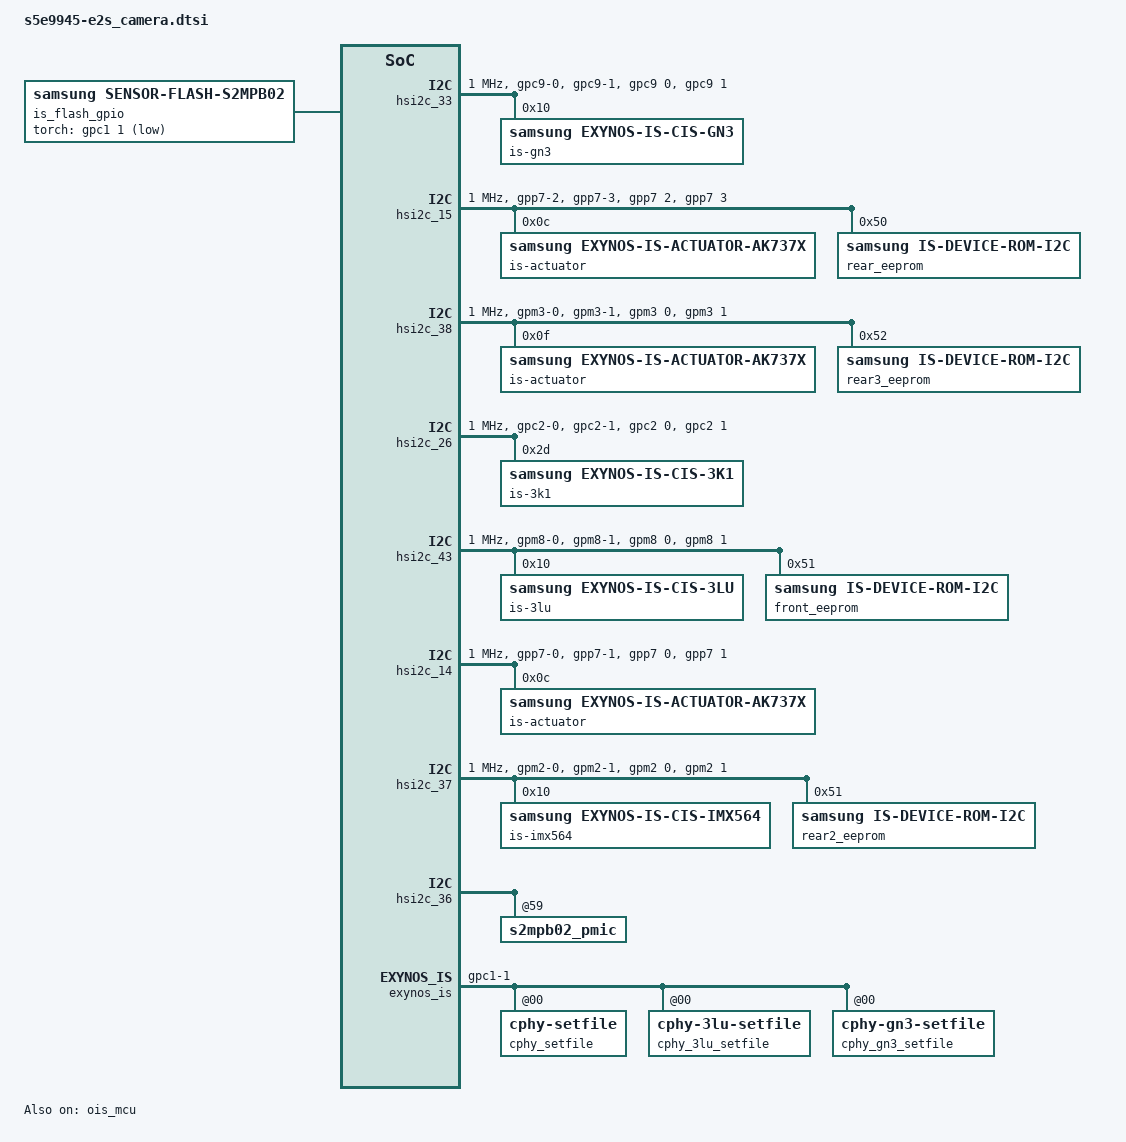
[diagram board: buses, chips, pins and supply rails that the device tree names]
/*
 * Samsung Exynos SoC series Pablo driver
 *
 * Copyright (c) 2022 Samsung Electronics Co., Ltd
 *
 * This program is free software; you can redistribute it and/or modify
 * it under the terms of the GNU General Public License version 2 as
 * published by the Free Software Foundation.
 */

#include <dt-bindings/camera/exynos_is_dt.h>

#include "module_gn3.dtsi"
#include "module_3k1.dtsi"
#include "module_imx564_ff.dtsi"
#include "module_3lu.dtsi"

/ {
	fragment@camera {
		target-path = "/";
		__overlay__ {
			#address-cells = <2>;
			#size-cells = <1>;
			interrupt-parent = <&gic>;

			is_flash_gpio: is-flash-gpio@0 {
				compatible = "samsung,sensor-flash-s2mpb02";
				sensor-module = <&is_sensor_gn3>, <&is_sensor_3k1>;
				id = <0 2>;
				status = "okay";

				torch-gpio = <&gpc1 1 0x1>;
			};

			is_sensor_gn3: is_sensor_gn3@20 {
				preload_setfile;
				pinning_setfile;
			};

			is_sensor_3k1: is_sensor_3k1@10 {
				preload_setfile;
				pinning_setfile;
			};

			is_sensor_imx564: is_sensor_imx564@1A {
				preload_setfile;
				pinning_setfile;
			};

			is_sensor_3lu: is_sensor_3lu@10 {
				preload_setfile;
				pinning_setfile;
			};

			/* OIS_MCU */
			ois_mcu: ois_mcu@1A310000 {
				pinctrl-names = "default";
				pinctrl-0 = <&ois_spi0 &ois_spi1>;
				compatible = "samsung,sensor-ois-mcu";
				reg = <0x0 0x1A310000 0x18000>, /* OIS MCU (SRAM 96KB) */
					<0x0 0x119D0000 0x10000>, /* I2C: USI05_USI */
					<0x0 0x119E0000 0x10000>,	/* SPI: USI06_USI */
					<0x0 0x11830000 0x1000>,	/* PERI setting */
					<0x0 0x1A300000 0x10000>; /* SFR */
				reg-names = "core", "i2c", "spi", "peri", "sfr";
				interrupts = <0 INTREQ__OIS_MCU_CSIS IRQ_TYPE_LEVEL_HIGH>;
				id = <0 2>;
				status = "okay";
				mcu_ctrl_actuator = <0 0>;
				mcu_support_photo_fastae;
				ois_gyro_direction = <0x00 0x00 0x11 0x00 0x00 0x00 0x00>;

				power-domains = <&pd_csis>;
				clocks = <&clock GATE_OIS_MCU_TOP_QCH>, <&clock DOUT_DIV_CLK_PERIC2_USI06>;
				clock-names = "user_mux", "ipclk_spi";
			};

			/* REAR CAMERA */
			is_sensor0: is_sensor0@1A030000 {
				reg = <0x0 0x1A040000 0x1000>, /* MIPI-CSI1 */
					<0x0 0x1A0F0000 0x10000>, /* PHY: M0S4S4S4S4S4S2 */
					<0x0 0x1A19022C 0x10>, /* CSIS_FRO */
					<0x0 0x1A190254 0x10>; /* CSIS 7x5 OTF_OUT MUX */
				scenario = <SENSOR_SCENARIO_NORMAL>;    /* Normal, Vision, OIS etc */

				id = <0>;
				csi_ch = <1>;
				status = "okay";
				use_cphy = <1>;
				scramble = <1>; /* need to sync with sensor setting */

				interrupts = <0 INTREQ__CSIS1 IRQ_TYPE_LEVEL_HIGH>; /* MIPI-CSI1 */
				phys = <&mipi_phy_csis1_m0s4s4s4s4s4s4_s22 0>;
				phy_setfile = <&cphy_gn3_setfile>;

				/* For phy tuning, DMA OUT must be output from only one VC(VC0) */
				phy_tune_default_mode = "4080 3060 30 99";
			};

			/* FRONT CAMERA */
			is_sensor1: is_sensor1@1A040000 {
				reg = <0x0 0x1A030000 0x1000>, /* MIPI-CSI0 */
					<0x0 0x1A0F0000 0x10000>, /* PHY: M0S4S4S4S4S4S2 */
					<0x0 0x1A19022C 0x10>, /* CSIS_FRO */
					<0x0 0x1A190254 0x10>; /* CSIS 7x5 OTF_OUT MUX */
				scenario = <SENSOR_SCENARIO_NORMAL>;    /* Normal, Vision, OIS etc */
				id = <1>;
				csi_ch = <0>;
				status = "okay";
				use_cphy = <1>;
				/* scramble = <1>; */ /* need to sync with sensor setting */

				interrupts = <0 INTREQ__CSIS0 IRQ_TYPE_LEVEL_HIGH>; /* MIPI-CSI0 */
				phys = <&mipi_phy_csis0_m0s4s4s4s4s4s4_s22 0>;
				phy_setfile = <&cphy_3lu_setfile>;

				/* For phy tuning, DMA OUT must be output from only one VC(VC0) */
				phy_tune_default_mode = "4000 3000 30 99";
			};

			/* Tele x3 CAMERA */
			is_sensor2: is_sensor2@1A050000 {
				reg = <0x0 0x1A050000 0x1000>, /* MIPI-CSI2 */
					<0x0 0x1A0F0000 0x10000>, /* PHY: M0S4S4S4S4S4S2 */
					<0x0 0x1A19022C 0x10>, /* CSIS_FRO */
					<0x0 0x1A190254 0x10>; /* CSIS 7x5 OTF_OUT MUX */
				scenario = <SENSOR_SCENARIO_NORMAL>;    /* Normal, Vision, OIS etc */
				id = <2>;
				csi_ch = <2>;
				status = "okay";
				use_cphy = <0>; /* dphy */

				interrupts = <0 INTREQ__CSIS2 IRQ_TYPE_LEVEL_HIGH>; /* MIPI-CSI2 */
				phys = <&mipi_phy_csis2_m0s4s4s4s4s4s4_s22 0>;

				/* For phy tuning, DMA OUT must be output from only one VC(VC0) */
				phy_tune_default_mode = "3648 2736 30 99";
			};

			is_sensor3: is_sensor3@1A060000 {
				scenario = <SENSOR_SCENARIO_NORMAL>;    /* Normal, Vision, OIS etc */
				id = <3>;
				csi_ch = <4>;
				status = "okay";
			};

			/* ULTRA WIDE CAMERA */
			is_sensor4: is_sensor4@1A070000 {
				reg = <0x0 0x1A060000 0x1000>, /* MIPI-CSI3 */
					<0x0 0x1A0F0000 0x10000>, /* PHY: M0S4S4S4S4S4S2 */
					<0x0 0x1A19022C 0x10>, /* CSIS_FRO */
					<0x0 0x1A190254 0x10>; /* CSIS 7x5 OTF_OUT MUX */
				scenario = <SENSOR_SCENARIO_NORMAL>;    /* Normal, Vision, OIS etc */
				id = <4>;
				csi_ch = <3>;
				status = "okay";
				use_cphy = <1>;

				interrupts = <0 INTREQ__CSIS3 IRQ_TYPE_LEVEL_HIGH>; /* MIPI-CSI3 */
				phys = <&mipi_phy_csis3_m0s4s4s4s4s4s4_s22 0>;
				phy_setfile = <&cphy_setfile>;
				phy_tune_default_mode = "4000 3000 30 0";
			};

			is_sensor5: is_sensor5@1A080000 {
				scenario = <SENSOR_SCENARIO_NORMAL>;    /* Normal, Vision, OIS etc */
				id = <1>;
				csi_ch = <1>;
				status = "disabled";
			};

			exynos_isp_cpu: icpu@1E900000 {
				firmware{
					heap{
						heap-name = "camera"; /* use camera heap */
					};
				};
			};
		}; /* end of __overlay__ */
	}; /* end of fragment */
}; /* end of root */

/***** reference symbol node *****/
&pinctrl_1 {
	/* ULTRA WIDE */
	hsi2c37_bus_in: hsi2c37-bus-in {
		samsung,pins = "gpm2-0", "gpm2-1";
		samsung,pin-function = <0>;
		samsung,pin-pud = <0>;
		samsung,pin-drv = <0>;
	};

	/* Tele 3x AF */
	hsi2c38_bus_in: hsi2c38-bus-in {
		samsung,pins = "gpm3-0", "gpm3-1";
		samsung,pin-function = <0>;
		samsung,pin-pud = <0>;
		samsung,pin-drv = <0>;
	};

	/* FRONT */
	hsi2c43_bus_in: hsi2c43-bus-in {
		samsung,pins = "gpm8-0", "gpm8-1";
		samsung,pin-function = <0>;
		samsung,pin-pud = <0>;
		samsung,pin-drv = <0>;
	};
};

&pinctrl_5 {
	/* torch */
	torch_sleep: torch-sleep {
		samsung,pins = "gpc1-1";
		samsung,pin-con-pdn= <3>;
	};
};

&pinctrl_6 {
	/* REAR TELE 3x */
	hsi2c26_bus_in: hsi2c26-bus-in {
		samsung,pins = "gpc2-0", "gpc2-1";
		samsung,pin-function = <0>;
		samsung,pin-pud = <0>;
		samsung,pin-drv = <0>;
	};

	/* FRONT AF */
	hsi2c14_bus_in: hsi2c14-bus-in {
		samsung,pins = "gpp7-0", "gpp7-1";
		samsung,pin-function = <0>;
		samsung,pin-pud = <0>;
		samsung,pin-drv = <0>;
	};

	/* REAR WIDE AF */
	hsi2c15_bus_in: hsi2c15-bus-in {
		samsung,pins = "gpp7-2", "gpp7-3";
		samsung,pin-function = <0>;
		samsung,pin-pud = <0>;
		samsung,pin-drv = <0>;
		samsung,pin-pud-pdn = <0>;
	};
};

&pinctrl_7 {
	/* REAR WIDE */
	hsi2c33_bus_in: hsi2c33-bus-in {
		samsung,pins = "gpc9-0", "gpc9-1";
		samsung,pin-function = <0>;
		samsung,pin-pud = <0>;
		samsung,pin-drv = <0>;
		samsung,pin-pud-pdn = <0>;
	};

	/* ois spi 0*/
	ois_spi0: ois-spi0 {
		samsung,pins = "gpp6-0", "gpp6-1";
		samsung,pin-function = <0>;
		samsung,pin-pud = <1>;
	};

	/* ois spi 1*/
	ois_spi1: ois-spi1 {
		samsung,pins = "gpp6-2", "gpp6-3";
		samsung,pin-function = <0>;
		samsung,pin-pud = <0>;
		samsung,pin-con-pdn = <2>;
		samsung,pin-pud-pdn = <0>;
	};
};

&hsi2c_33 {
	#address-cells = <1>;
	#size-cells = <0>;
	gpios = <&gpc9 0 0 &gpc9 1 0>;
	status = "okay";
	clock-frequency = <1000000>;
	samsung,reset-before-trans;
	samsung,fast-plus-mode;

	pinctrl-names = "default","on_i2c","off_i2c";
	pinctrl-0 = <&hsi2c33_bus_in>;
	pinctrl-1 = <&hsi2c33_bus>;
	pinctrl-2 = <&hsi2c33_bus_in>;

	is-gn3@10 {
		compatible = "samsung,exynos-is-cis-gn3";
		sensor-module = <&is_sensor_gn3>;
		reg = <0x10>; /* 1 bit right shift */
		id = <0>; /* matching is_sensor id */
		setfile = "default";
		rev_reg = <0x0002 2 0xC000>;
		vendor_use_adaptive_mipi;
	};
};

&hsi2c_15 {
	#address-cells = <1>;
	#size-cells = <0>;
	gpios = <&gpp7 2 0 &gpp7 3 0>;
	status = "okay";
	clock-frequency = <1000000>;
	samsung,reset-before-trans;
	samsung,fast-plus-mode;

	pinctrl-names = "default","on_i2c","off_i2c";
	pinctrl-0 = <&hsi2c15_bus_in>;
	pinctrl-1 = <&hsi2c15_bus>;
	pinctrl-2 = <&hsi2c15_bus_in>;

	is-actuator@0C { /* wide AF */
		compatible = "samsung,exynos-is-actuator-ak737x";
		sensor-module = <&is_sensor_gn3>;
		reg = <0x0C>;
		id = <0>; /* matching is_sensor id */
		/* AK7377: addr 0xF3, data 0x0E */
		vendor_product_id = <0xF3 0x0E 0xF3 0x13 0xF3 0x00>;
		vendor_first_pos = <2000>;  /* 12bits */
		vendor_first_delay = <2000>;
		vendor_soft_landing_seqid = <2>;
		vendor_soft_landing_list = <2900 30 3500 30>; /* 1st_pos delay 2nd_pos delay */  /* 12bits */
		vendor_use_sleep_mode;
		vendor_use_standby_mode; /* AK7377 with vendor_use_sleep_mode */
		vendor_use_hall;
		vendor_hall_min_interval = <75>; /* ms */
		vendor_hall_hw_param_tolerance = <200>;
	};

	rear_eeprom@50 {
		compatible = "samsung,is-device-rom-i2c";
		reg = <0x50>;

		rom_id = <0>; /* ROM_ID_REAR */
		rom_type = <2>; /* ROM_TYPE_EEPROM */
		rom_power_position = <0>;
		rom_size = <0x8000>;
		cal_map_es_version = <31>;
		camera_module_es_version = "A";
		/* ignore_cal_crc_error; */
		/* skip_cal_loading; */

		/* Muse_project_Muse12_Rear_Cal_Map_V031_20230525_for_all */
		/* 0 header */
		header_crc_check_list = <0x0000 0x01FB 0x01FC>;
		/* 0 LSI Wide LSC data */
		/* 1 Wide camera */
		/* 2 ATC data */
		/* 3 Tele camera */
		/* 4 Sensor */
		crc_check_list = <0x0200 0x15FB 0x15FC
						0x1D00 0x2D2B 0x2D2C
						0x2D30 0x2D5B 0x2D5C
						0x2D60 0x2D9B 0x2D9C
						0x2DA0 0x2E0B 0x2E0C
						0x2E10 0x2E6B 0x2E6C
						0x2E70 0x2E9B 0x2E9C
						0x1D00 0x2EDF 0x2EFC
						0x2F00 0x2FFB 0x2FFC
						0x3000 0x4499 0x449A
						0x3000 0x44DF 0x44FC
						0x4500 0x464B 0x464C>;

		/* Master */
		rom_header_version_start_addr = <0x50>;
		rom_header_cal_data_start_addr = <0x200>;
		rom_header_cal_map_ver_start_addr = <0x70>;
		rom_header_isp_setfile_ver_start_addr = <0x74>;
		rom_header_project_name_start_addr = <0x7E>;
		rom_header_module_id_addr = <0xAE>; /* 0xA8 + reserved bytes */
		rom_header_sensor_id_addr = <0xB8>;
		rom_header_mtf_data_addr = <0xE0>;
		rom_paf_cal_start_addr = <0x1D00>;
		rom_awb_master_addr = <0x2D60>;
		rom_awb_module_addr = <0x2D84>;
		/* Near Far Mid1 ... Mid7 */
		rom_af_cal_addr = <0x2D40 0x2D34 0x2D38 0x2D3C>;

		/* rom_xtc_cal_endian_check; */
		rom_xtc_cal_data_addr_list = <0x3000 0x4499 0x1>;

		/* sensor ois - xgg ygg xcoef ycoef xsupper ysupper calmark */
		/* sensor2 ois - xgg ygg xcoef ycoef xsupper ysupper calmark */
		/* TO DO */
		rom_ois_list = <0x2E20 0x2E24 0x2E2C 0x2E2E 0x2E48 0x2E4A 0x2E40
				0x3630 0x3634 0x363C 0x363E 0x3658 0x365A 0x3650>;
	};
};

&hsi2c_38 {
	#address-cells = <1>;
	#size-cells = <0>;
	gpios = <&gpm3 0 0 &gpm3 1 0>;
	status = "okay";
	clock-frequency = <1000000>;
	samsung,reset-before-trans;
	samsung,fast-plus-mode;

	pinctrl-names = "default","on_i2c","off_i2c";
	pinctrl-0 = <&hsi2c38_bus_in>;
	pinctrl-1 = <&hsi2c38_bus>;
	pinctrl-2 = <&hsi2c38_bus_in>;

	is-actuator@0F { /* tele 3x AF */
		compatible = "samsung,exynos-is-actuator-ak737x";
		sensor-module = <&is_sensor_3k1>;
		reg = <0x0F>;
		id = <2>; /* matching is_sensor id */
		/* AK7377: addr 0xF3, data 0x0E */
		vendor_product_id = <0xF3 0x0E 0xF3 0x13 0xF3 0x00>;
		vendor_first_pos = <2000>;  /* 12bits */
		vendor_first_delay = <2000>;
		vendor_soft_landing_seqid = <2>;
		vendor_soft_landing_list = <2900 30 3500 30>; /* 1st_pos delay 2nd_pos delay */  /* 12bits */
		vendor_use_sleep_mode;
		vendor_use_standby_mode; /* AK7377 with vendor_use_sleep_mode */
		vendor_use_hall;
		vendor_hall_min_interval = <75>; /* ms */
		vendor_hall_hw_param_tolerance = <200>;
	};

	rear3_eeprom@52 { /* tele x3 */
		compatible = "samsung,is-device-rom-i2c";
		reg = <0x52>;

		rom_id = <4>; /* ROM_ID_REAR3 */
		rom_type = <2>; /* ROM_TYPE_EEPROM */
		rom_power_position = <2>;
		rom_size = <0x4000>;
		cal_map_es_version = <31>;
		camera_module_es_version = "A";

		/* Muse_project_Muse12_Rear_Cal_Map_V031_20230525_for_all */
		/* 0 header */
		header_crc_check_list = <0x0000 0x01FB 0x01FC>;
		/* 0 LSI Wide LSC data */
		/* 1 Tele camera */
		/* 2 ATC data */
		crc_check_list = <
			0x0200 0x15FB 0x15FC
			0x1600 0x1CFB 0x1CFC
			0x1D00 0x2D2B 0x2D2C
			0x2D30 0x2D5B 0x2D5C
			0x2D60 0x2D9B 0x2D9C
			0x2DA0 0x2E0B 0x2E0C
			0x2E10 0x361B 0x361C
			0x3620 0x367B 0x367C
			0x1D00 0x36DF 0x36FC
			0x3700 0x37FB 0x37FC
			0x3800 0x394B 0x394C
		>;

		/* Master */
		rom_header_version_start_addr = <0x40>;
		rom_header_cal_data_start_addr = <0x200>;
		rom_header_cal_map_ver_start_addr = <0x70>;
		rom_header_isp_setfile_ver_start_addr = <0x74>;
		rom_header_project_name_start_addr = <0x7E>;
		rom_header_module_id_addr = <0xAE>; /* 0xA8 + reserved bytes */
		rom_header_sensor_id_addr = <0xC8>;
		rom_header_mtf_data_addr = <0x182>;
		rom_awb_master_addr = <0x2D60>;
		rom_awb_module_addr = <0x2D84>;
		/* Near Far Mid1 ... Mid7 */
		rom_af_cal_addr = <0x2D40 0x2D34 0x2D38 0x2D3C>;

		/* Dual cal slave 0 - Tele */
		rom_dualcal_slave0_start_addr = <0x2E10>;
		rom_dualcal_slave0_size = <0x080C>; /* 2060 */
		/* x y z sx sy */
		/* range max_err avg_err dll_version model_id */
		rom_dualcal_slave1_tilt_list = <0x2EC8 0x2ECC 0x2ED0 0x2EEC 0x2EF0
			0x30E2 0x30E6 0x30EA 0x3104 0x30EF>;

		/* sensor ois - xgg ygg xcoef ycoef xsupper ysupper calmark */
		/* sensor2 ois - xgg ygg xcoef ycoef xsupper ysupper calmark */
		/* TO DO */
		rom_ois_list = <0x2E20 0x2E24 0x2E2C 0x2E2E 0x2E48 0x2E4A 0x2E40
			0x3630 0x3634 0x363C 0x363E 0x3658 0x365A 0x3650>;
	};
};

&hsi2c_26 {
	#address-cells = <1>;
	#size-cells = <0>;
	gpios = <&gpc2 0 0 &gpc2 1 0>;
	status = "okay";
	clock-frequency = <1000000>;
	samsung,reset-before-trans;
	samsung,fast-plus-mode;

	pinctrl-names = "default","on_i2c","off_i2c";
	pinctrl-0 = <&hsi2c26_bus_in>;
	pinctrl-1 = <&hsi2c26_bus>;
	pinctrl-2 = <&hsi2c26_bus_in>;

	is-3k1@2D { /* 3k1 */
		compatible = "samsung,exynos-is-cis-3k1";
		sensor-module = <&is_sensor_3k1>;
		reg = <0x2D>; /* 1 bit right shift */
		id = <2>; /* matching is_sensor id */
		setfile = "setA";
		rev_reg = <0x0002 2 0xA000>;
		vendor_use_adaptive_mipi;
	};
};

&hsi2c_43 {
	#address-cells = <1>;
	#size-cells = <0>;
	gpios = <&gpm8 0 0 &gpm8 1 0>;
	status = "okay";
	clock-frequency = <1000000>;
	samsung,reset-before-trans;
	samsung,fast-plus-mode;

	pinctrl-names = "default","on_i2c","off_i2c";
	pinctrl-0 = <&hsi2c43_bus_in>;
	pinctrl-1 = <&hsi2c43_bus>;
	pinctrl-2 = <&hsi2c43_bus_in>;

	is-3lu@10 {
		compatible = "samsung,exynos-is-cis-3lu";
		sensor-module = <&is_sensor_3lu>;
		reg = <0x10>; /* 1 bit right shift */
		id = <1>; /* matching is_sensor id */
		setfile = "default";
		rev_reg = <0x0002 2 0xA101>;
		vendor_use_adaptive_mipi;
	};

	front_eeprom@51 {
		compatible = "samsung,is-device-rom-i2c";
		reg = <0x51>;

		rom_id = <1>; /* ROM_ID_FRONT */
		rom_type = <2>; /* ROM_TYPE_EEPROM */
		rom_power_position = <1>;
		rom_size = <0x4000>;
		cal_map_es_version = <31>;
		camera_module_es_version = "A";
		/* ignore_cal_crc_error; */

		/* Muse_project_Muse123_Front_Cal_Map_V031_20230510_for_all */
		/* 0 header */
		header_crc_check_list = <0x0000 0x015F 0x01FC>;
		/* 0 master */
		crc_check_list = <
			0x0200 0x15FB 0x15FC
			0x2300 0x32FF 0x3300
			0x330C 0x3337 0x3338
			0x333C 0x3367 0x3368
			0x2300 0x33DF 0x33FC
			0x3400 0x354B 0x354C
		>;
		/* Master */
		rom_header_version_start_addr = <0x30>;
		rom_header_cal_data_start_addr = <0x200>;
		rom_header_cal_map_ver_start_addr = <0x50>;
		/* rom_header_isp_setfile_ver_start_addr = <>; */
		rom_header_project_name_start_addr = <0x5C>;
		rom_header_module_id_addr = <0xAE>; /* 0xA8 + reserved bytes */
		rom_header_sensor_id_addr = <0x70>;
		rom_header_mtf_data_addr = <0xE0>;
		rom_paf_cal_start_addr = <0x2300>;
		rom_awb_master_addr = <0x333C>;
		rom_awb_module_addr = <0x3348>;
		/* Near Far Mid1 ... Mid7 */
		rom_af_cal_addr = <0x331C 0x3310>;
	};
};

&hsi2c_14 {
	#address-cells = <1>;
	#size-cells = <0>;
	gpios = <&gpp7 0 0 &gpp7 1 0>;
	status = "okay";
	clock-frequency = <1000000>;
	samsung,reset-before-trans;
	samsung,fast-plus-mode;

	pinctrl-names = "default","on_i2c","off_i2c";
	pinctrl-0 = <&hsi2c14_bus_in>;
	pinctrl-1 = <&hsi2c14_bus>;
	pinctrl-2 = <&hsi2c14_bus_in>;

	is-actuator@0C { /* front AF */
		compatible = "samsung,exynos-is-actuator-ak737x";
		sensor-module = <&is_sensor_3lu>;
		reg = <0x0C>;
		id = <1>; /* matching is_sensor id */
		/* DW9825A */
		vendor_product_id = <0xF3 0x0E>;
		vendor_first_pos = <960>;  /* 12bits */
		vendor_first_delay = <2000>;
		vendor_use_sleep_mode;
		vendor_use_standby_mode; /* with vendor_use_sleep_mode */
		vendor_use_hall;
		vendor_hall_min_interval = <75>; /* ms */
		vendor_hall_hw_param_tolerance = <200>;
		/* delay settings for DW9825A */
		vendor_sleep_to_standby_delay = <3000>;
		vendor_active_to_standby_delay = <300>;
	};
};

&hsi2c_37 {
	#address-cells = <1>;
	#size-cells = <0>;
	gpios = <&gpm2 0 0 &gpm2 1 0>;
	status = "okay";
	clock-frequency = <1000000>;
	samsung,reset-before-trans;
	samsung,fast-plus-mode;

	pinctrl-names = "default","on_i2c","off_i2c";
	pinctrl-0 = <&hsi2c37_bus_in>;
	pinctrl-1 = <&hsi2c37_bus>;
	pinctrl-2 = <&hsi2c37_bus_in>;

	is-imx564@10 { /* ultrawide */
		compatible = "samsung,exynos-is-cis-imx564";
		sensor-module = <&is_sensor_imx564>;
		reg = <0x10>; /* 1 bit right shift */
		id = <4>; /* matching is_sensor id */
		setfile = "setB";
		status = "okay";
		rev_reg = <0x36F2 2 0x564C>;
		vendor_use_adaptive_mipi;
	};

	rear2_eeprom@51 { /* Ultra wide eeprom */
		compatible = "samsung,is-device-rom-i2c";
		reg = <0x51>;

		rom_id = <2>; /* ROM_ID_REAR2 */
		rom_type = <2>; /* ROM_TYPE_EEPROM */
		rom_power_position = <4>;
		rom_size = <0x2000>;
		cal_map_es_version = <31>;
		camera_module_es_version = "A";

		/* Muse_project_Muse12_Rear_Cal_Map_V031_20230525_for_all */
		/* 0 header */
		header_crc_check_list = <0x0000 0x00FB 0x00FC>;
		/* 0 master LSC */
		/* 1 master all */
		crc_check_list = <
			0x0100 0x14FB 0x14FC
			0x1500 0x1BFB 0x1BFC
			0x1C00 0x1C3B 0x1C3C
			0x1C40 0x1CAB 0x1CAC
			0x1C00 0x1CDF 0x1CFC
			0x1D00 0x1E4B 0x1E4C
		>;
		/* Master */
		rom_header_version_start_addr = <0x40>;
		rom_header_cal_data_start_addr = <0x100>;
		rom_header_cal_map_ver_start_addr = <0x50>;
		rom_header_isp_setfile_ver_start_addr = <0x54>;
		rom_header_project_name_start_addr = <0x5E>;
		rom_header_module_id_addr = <0xAE>; /* 0xA8 + reserved bytes */
		rom_header_sensor_id_addr = <0xB8>;
		rom_header_mtf_data_addr = <0x66>; /* AF position */
		rom_awb_master_addr = <0x1C00>;
		rom_awb_module_addr = <0x1C24>;
	};
};

&hsi2c_36 {
	s2mpb02_pmic@59 {
		torch {
			torch1-gpio = <&gpc1 1 0x1>;

			status = "okay";

			leds1 {
				ledname = "leds-sec1";
				id = <0>;
				brightness = <0xE>; /* adaptive Nx100+50 : 1450mA */
				timeout = <0x7>; /* (N+1)x62.5 : 500ms */
				torch_table_enable = <0>;
			};

			leds2 {
				ledname = "torch-sec1";
				id = <1>;
				brightness = <0xE>; /* Nx20 = 280mA */
				timeout = <0xF>;
				torch_table_enable = <1>;
				torch_table = <3 5 5 6 6 8 8 8 10 10>;
				/* 60mA 100mA 120mA 160mA 200mA */
			};
		};
	};
};

&exynos_is {
	phy_ldos = "AVDD_CSI_0P85", "AVDD_CSI_1P2";

	pinctrl-names = "default";
	pinctrl-0 = <&torch_sleep>;

	vendor {
		use_module_check;
		check_sensor_vendor;
		ois_sensor_index = <0>;
		aperture_sensor_index = <0>;
		mcu_sensor_index = <0>;

		is_vendor_sensor_count = <5>;
		max_supported_camera = <6>;
		supported_cameraId = <56 58 52 1 21 23>;
		/*
		* Wide(0)
		* Front(1)
		* U Wide(2)
		* Front 80(3) - not available for factory
		* Rear ToF(4) - not available for factory
		* Front Secure(5) - not available for factory
		* Dual Zoom(20)
		* Dual Portrait Tele(21) - Main Tele/Sub Wide
		* Dual Portrait Wide(23) - Main Wide/Sub U Wide
		* Tele 2x2(50)
		* Tele 17.9(52)
		* Front_3(53)
		* Tele_2(54)
		* Front_4(55)
		* Rear_Wide(56)
		* Rear_UW(58)
		* REAR ToF(80)
		*/

		/* sysfs camera id */
		max_camera_num = <9>;
		sensor_name { /* position = "name" */
			0 = "S5KGN3";
			1 = "S5K3LU";
			2 = "S5K3K1";
			4 = "IMX564";
		};

		sensor_id { /* position = <sensor_id> */
			0 = <71>;	/* S5KGN3 */
			1 = <75>;	/* S5K3LU */
			2 = <70>;	/* S5K3K1 */
			4 = <129>;	/* IMX564 */
		};

		camera_info0 {			/* 0 : sysfs rear */
			position = <0>;	/* 0 : wide */
			valid = <1>;		/* 0 : INVALID, 1 : VALID */
			type = <0>;			/* 0 : CAM_INFO_TYPE_RW1 */
		};
		camera_info1 {			/* 1 : sysfs front */
			position = <1>;	/* 1 : front master */
			valid = <1>;		/* 0 : INVALID, 1 : VALID */
			type = <3>;			/* 3 : CAM_INFO_TYPE_FW1 */
		};
		camera_info2 {			/* 2 : sysfs rear2 */
			position = <4>;	/* 4 : ultra wide */
			valid = <1>;		/* 0 : INVALID, 1 : VALID */
			type = <1>;			/* 1 : CAN_INFO_TYPE_RS1 */
		};
		camera_info3 {			/* 3 : sysfs front2 */
			valid = <0>;		/* 0 : INVALID, 1 : VALID */
		};
		camera_info4 {			/* 4 : sysfs rear3 */
			position = <2>;	/* 4 : tele */
			valid = <1>;		/* 0 : INVALID, 1 : VALID   */
			type = <2>;			/* 2 : CAM_INFO_TYPE_RT1 */
		};
		camera_info5 {			/* 5 : sysfs front3 */
			valid = <0>;		/* 0 : INVALID, 1 : VALID */
		};
		camera_info6 {			/* 6 : sysfs rear4 */
			valid = <0>;		/* 0 : INVALID, 1 : VALID   */
		};
		camera_info7 {			/* 7 : sysfs front4 */
			valid = <0>;		/* 0 : INVALID, 1 : VALID */
		};
		camera_info8 {			/* 8 : sysfs rear tof */
			valid = <0>;		/* 0 : INVALID, 1 : VALID */
		};

		sysfs {
			rear_afcal;
			rear_dualcal;

			rear2;
			rear2_afcal;
			rear2_moduleid;
			rear2_tilt;

			rear3;
			rear3_afcal;
			rear3_afhall;
			rear3_moduleid;
			rear3_tilt;

			front_afcal;
		};
	};

	lic_offsets {
		/* 3AA = <setA lic offset0, setA lic offset1, set A trigger context */
		/*		setB lic offset0, setB lic offset1, set B trigger context> */
		/* 4672: 4640x4352 */
		/* 5824: 5804x4352 */
		3AA = <5461 10922 16383 0 5461 10922 16383 0>;
	};

	is_dvfs {
		table0 {
			desc = "dvfs table v0.0";

			default_int_cam = <0>;
			default_cam = <0>;
			default_csis = <0>;
			default_isp = <0>;
			default_mif = <0>;
			default_int = <0>;
			default_icpu = <0>;

			rear_single_photo_cam = <5>;
			rear_single_photo_isp = <6>;
			rear_single_photo_int_cam = <4>;
			rear_single_photo_mif = <9>;
			rear_single_photo_int = <1>;
			rear_single_photo_icpu = <0>;

			rear_single_photo_full_cam = <5>;
			rear_single_photo_full_isp = <6>;
			rear_single_photo_full_int_cam = <5>;
			rear_single_photo_full_mif = <11>;
			rear_single_photo_full_int = <1>;
			rear_single_photo_full_icpu = <0>;

			rear_single_video_fhd30_cam = <5>;
			rear_single_video_fhd30_isp = <6>;
			rear_single_video_fhd30_int_cam = <6>;
			rear_single_video_fhd30_mif = <11>;
			rear_single_video_fhd30_int = <2>;
			rear_single_video_fhd30_icpu = <1>;

			rear_single_video_fhd30_supersteady_cam = <5>;
			rear_single_video_fhd30_supersteady_isp = <6>;
			rear_single_video_fhd30_supersteady_int_cam = <6>;
			rear_single_video_fhd30_supersteady_mif = <11>;
			rear_single_video_fhd30_supersteady_int = <7>;
			rear_single_video_fhd30_supersteady_icpu = <0>;

			rear_single_video_fhd30_recursive_cam = <4>;
			rear_single_video_fhd30_recursive_isp = <4>;
			rear_single_video_fhd30_recursive_int_cam = <1>;
			rear_single_video_fhd30_recursive_mif = <11>;
			rear_single_video_fhd30_recursive_int = <2>;
			rear_single_video_fhd30_recursive_icpu = <0>;

			rear_single_video_fhd60_cam = <5>;
			rear_single_video_fhd60_isp = <6>;
			rear_single_video_fhd60_int_cam = <5>;
			rear_single_video_fhd60_mif = <8>;
			rear_single_video_fhd60_int = <2>;
			rear_single_video_fhd60_icpu = <1>;

			rear_single_video_fhd60_supersteady_cam = <5>;
			rear_single_video_fhd60_supersteady_isp = <6>;
			rear_single_video_fhd60_supersteady_int_cam = <5>;
			rear_single_video_fhd60_supersteady_mif = <7>;
			rear_single_video_fhd60_supersteady_int = <7>;
			rear_single_video_fhd60_supersteady_icpu = <0>;

			rear_single_video_uhd30_cam = <5>;
			rear_single_video_uhd30_isp = <6>;
			rear_single_video_uhd30_int_cam = <5>;
			rear_single_video_uhd30_mif = <8>;
			rear_single_video_uhd30_int = <7>;
			rear_single_video_uhd30_icpu = <1>;

			rear_single_video_uhd30_supersteady_cam = <5>;
			rear_single_video_uhd30_supersteady_isp = <6>;
			rear_single_video_uhd30_supersteady_int_cam = <4>;
			rear_single_video_uhd30_supersteady_mif = <8>;
			rear_single_video_uhd30_supersteady_int = <7>;
			rear_single_video_uhd30_supersteady_icpu = <0>;

			rear_single_video_uhd30_recursive_cam = <1>;
			rear_single_video_uhd30_recursive_isp = <1>;
			rear_single_video_uhd30_recursive_int_cam = <1>;
			rear_single_video_uhd30_recursive_mif = <8>;
			rear_single_video_uhd30_recursive_int = <7>;
			rear_single_video_uhd30_recursive_icpu = <0>;

			rear_single_video_uhd60_cam = <5>;
			rear_single_video_uhd60_isp = <5>;
			rear_single_video_uhd60_int_cam = <4>;
			rear_single_video_uhd60_mif = <5>;
			rear_single_video_uhd60_int = <6>;
			rear_single_video_uhd60_icpu = <1>;

			rear_single_video_uhd60_supersteady_cam = <5>;
			rear_single_video_uhd60_supersteady_isp = <5>;
			rear_single_video_uhd60_supersteady_int_cam = <4>;
			rear_single_video_uhd60_supersteady_mif = <5>;
			rear_single_video_uhd60_supersteady_int = <6>;
			rear_single_video_uhd60_supersteady_icpu = <0>;

			rear_single_capture_cam = <1>;
			rear_single_capture_isp = <1>;
			rear_single_capture_int_cam = <1>;
			rear_single_capture_mif = <3>;
			rear_single_capture_int = <0>;
			rear_single_capture_icpu = <0>;

			rear_single_video_fhd120_cam = <5>;
			rear_single_video_fhd120_isp = <6>;
			rear_single_video_fhd120_int_cam = <6>;
			rear_single_video_fhd120_mif = <8>;
			rear_single_video_fhd120_int = <1>;
			rear_single_video_fhd120_icpu = <0>;

			rear_single_video_uhd120_cam = <4>;
			rear_single_video_uhd120_isp = <4>;
			rear_single_video_uhd120_int_cam = <6>;
			rear_single_video_uhd120_mif = <3>;
			rear_single_video_uhd120_int = <0>;
			rear_single_video_uhd120_icpu = <0>;

			rear_single_video_fhd240_cam = <5>;
			rear_single_video_fhd240_isp = <5>;
			rear_single_video_fhd240_int_cam = <6>;
			rear_single_video_fhd240_mif = <2>;
			rear_single_video_fhd240_int = <1>;
			rear_single_video_fhd240_icpu = <0>;

			rear_single_video_fhd480_cam = <3>;
			rear_single_video_fhd480_isp = <3>;
			rear_single_video_fhd480_int_cam = <6>;
			rear_single_video_fhd480_mif = <2>;
			rear_single_video_fhd480_int = <1>;
			rear_single_video_fhd480_icpu = <0>;

			rear_single_ssm_cam = <5>;
			rear_single_ssm_isp = <5>;
			rear_single_ssm_int_cam = <6>;
			rear_single_ssm_mif = <2>;
			rear_single_ssm_int = <1>;
			rear_single_ssm_icpu = <0>;

			rear_single_remosaic_photo_cam = <5>;
			rear_single_remosaic_photo_isp = <6>;
			rear_single_remosaic_photo_int_cam = <4>;
			rear_single_remosaic_photo_mif = <11>;
			rear_single_remosaic_photo_int = <1>;
			rear_single_remosaic_photo_icpu = <0>;

			rear_single_remosaic_capture_cam = <1>;
			rear_single_remosaic_capture_isp = <1>;
			rear_single_remosaic_capture_int_cam = <1>;
			rear_single_remosaic_capture_mif = <2>;
			rear_single_remosaic_capture_int = <0>;
			rear_single_remosaic_capture_icpu = <0>;

			rear_single_vt_cam = <5>;
			rear_single_vt_isp = <6>;
			rear_single_vt_int_cam = <6>;
			rear_single_vt_mif = <10>;
			rear_single_vt_int = <1>;
			rear_single_vt_icpu = <0>;

			rear_single_video_8k24_cam = <4>;
			rear_single_video_8k24_isp = <4>;
			rear_single_video_8k24_int_cam = <4>;
			rear_single_video_8k24_mif = <5>;
			rear_single_video_8k24_int = <4>;
			rear_single_video_8k24_icpu = <1>;

			rear_single_video_8k24_hf_cam = <5>;
			rear_single_video_8k24_hf_isp = <6>;
			rear_single_video_8k24_hf_int_cam = <4>;
			rear_single_video_8k24_hf_mif = <8>;
			rear_single_video_8k24_hf_int = <3>;
			rear_single_video_8k24_hf_icpu = <1>;

			rear_single_video_8k30_cam = <2>;
			rear_single_video_8k30_isp = <2>;
			rear_single_video_8k30_int_cam = <2>;
			rear_single_video_8k30_mif = <4>;
			rear_single_video_8k30_int = <4>;
			rear_single_video_8k30_icpu = <1>;

			rear_single_video_8k30_hf_cam = <5>;
			rear_single_video_8k30_hf_isp = <6>;
			rear_single_video_8k30_hf_int_cam = <4>;
			rear_single_video_8k30_hf_mif = <7>;
			rear_single_video_8k30_hf_int = <2>;
			rear_single_video_8k30_hf_icpu = <1>;

			rear_single_wide_fastae_cam = <0>;
			rear_single_wide_fastae_isp = <0>;
			rear_single_wide_fastae_int_cam = <0>;
			rear_single_wide_fastae_mif = <0>;
			rear_single_wide_fastae_int = <0>;
			rear_single_wide_fastae_icpu = <0>;

			rear_dual_photo_cam = <5>;
			rear_dual_photo_isp = <6>;
			rear_dual_photo_int_cam = <5>;
			rear_dual_photo_mif = <8>;
			rear_dual_photo_int = <0>;
			rear_dual_photo_icpu = <0>;

			rear_dual_video_fhd30_cam = <5>;
			rear_dual_video_fhd30_isp = <6>;
			rear_dual_video_fhd30_int_cam = <6>;
			rear_dual_video_fhd30_mif = <8>;
			rear_dual_video_fhd30_int = <0>;
			rear_dual_video_fhd30_icpu = <0>;

			rear_dual_video_fhd60_cam = <5>;
			rear_dual_video_fhd60_isp = <6>;
			rear_dual_video_fhd60_int_cam = <4>;
			rear_dual_video_fhd60_mif = <6>;
			rear_dual_video_fhd60_int = <1>;
			rear_dual_video_fhd60_icpu = <0>;

			rear_dual_video_uhd30_cam = <5>;
			rear_dual_video_uhd30_isp = <6>;
			rear_dual_video_uhd30_int_cam = <4>;
			rear_dual_video_uhd30_mif = <8>;
			rear_dual_video_uhd30_int = <0>;
			rear_dual_video_uhd30_icpu = <0>;

			rear_dual_video_uhd60_cam = <5>;
			rear_dual_video_uhd60_isp = <5>;
			rear_dual_video_uhd60_int_cam = <4>;
			rear_dual_video_uhd60_mif = <4>;
			rear_dual_video_uhd60_int = <1>;
			rear_dual_video_uhd60_icpu = <0>;

			rear_dual_capture_cam = <1>;
			rear_dual_capture_isp = <1>;
			rear_dual_capture_int_cam = <1>;
			rear_dual_capture_mif = <3>;
			rear_dual_capture_int = <0>;
			rear_dual_capture_icpu = <0>;

			triple_photo_cam = <5>;
			triple_photo_isp = <6>;
			triple_photo_int_cam = <5>;
			triple_photo_mif = <8>;
			triple_photo_int = <0>;
			triple_photo_icpu = <0>;

			triple_video_fhd30_cam = <5>;
			triple_video_fhd30_isp = <6>;
			triple_video_fhd30_int_cam = <6>;
			triple_video_fhd30_mif = <8>;
			triple_video_fhd30_int = <0>;
			triple_video_fhd30_icpu = <0>;

			triple_video_fhd60_cam = <4>;
			triple_video_fhd60_isp = <6>;
			triple_video_fhd60_int_cam = <5>;
			triple_video_fhd60_mif = <5>;
			triple_video_fhd60_int = <0>;
			triple_video_fhd60_icpu = <0>;

			triple_video_uhd30_cam = <5>;
			triple_video_uhd30_isp = <6>;
			triple_video_uhd30_int_cam = <4>;
			triple_video_uhd30_mif = <6>;
			triple_video_uhd30_int = <0>;
			triple_video_uhd30_icpu = <0>;

			triple_video_uhd60_cam = <5>;
			triple_video_uhd60_isp = <5>;
			triple_video_uhd60_int_cam = <4>;
			triple_video_uhd60_mif = <4>;
			triple_video_uhd60_int = <0>;
			triple_video_uhd60_icpu = <0>;

			triple_capture_cam = <1>;
			triple_capture_isp = <1>;
			triple_capture_int_cam = <1>;
			triple_capture_mif = <3>;
			triple_capture_int = <0>;
			triple_capture_icpu = <0>;

			front_single_photo_cam = <5>;
			front_single_photo_isp = <6>;
			front_single_photo_int_cam = <6>;
			front_single_photo_mif = <11>;
			front_single_photo_int = <0>;
			front_single_photo_icpu = <0>;

			front_single_photo_full_cam = <5>;
			front_single_photo_full_isp = <6>;
			front_single_photo_full_int_cam = <6>;
			front_single_photo_full_mif = <11>;
			front_single_photo_full_int = <0>;
			front_single_photo_full_icpu = <0>;

			front_single_video_fhd30_cam = <5>;
			front_single_video_fhd30_isp = <6>;
			front_single_video_fhd30_int_cam = <6>;
			front_single_video_fhd30_mif = <11>;
			front_single_video_fhd30_int = <3>;
			front_single_video_fhd30_icpu = <1>;

			front_single_video_fhd30_recursive_cam = <4>;
			front_single_video_fhd30_recursive_isp = <4>;
			front_single_video_fhd30_recursive_int_cam = <1>;
			front_single_video_fhd30_recursive_mif = <11>;
			front_single_video_fhd30_recursive_int = <3>;
			front_single_video_fhd30_recursive_icpu = <0>;

			front_single_video_uhd30_cam = <5>;
			front_single_video_uhd30_isp = <6>;
			front_single_video_uhd30_int_cam = <5>;
			front_single_video_uhd30_mif = <8>;
			front_single_video_uhd30_int = <3>;
			front_single_video_uhd30_icpu = <1>;

			front_single_video_uhd30_recursive_cam = <1>;
			front_single_video_uhd30_recursive_isp = <1>;
			front_single_video_uhd30_recursive_int_cam = <1>;
			front_single_video_uhd30_recursive_mif = <8>;
			front_single_video_uhd30_recursive_int = <3>;
			front_single_video_uhd30_recursive_icpu = <0>;

			front_single_video_fhd60_cam = <5>;
			front_single_video_fhd60_isp = <6>;
			front_single_video_fhd60_int_cam = <5>;
			front_single_video_fhd60_mif = <8>;
			front_single_video_fhd60_int = <3>;
			front_single_video_fhd60_icpu = <1>;

			front_single_video_uhd60_cam = <5>;
			front_single_video_uhd60_isp = <5>;
			front_single_video_uhd60_int_cam = <5>;
			front_single_video_uhd60_mif = <5>;
			front_single_video_uhd60_int = <3>;
			front_single_video_uhd60_icpu = <1>;

			front_single_capture_cam = <1>;
			front_single_capture_isp = <1>;
			front_single_capture_int_cam = <1>;
			front_single_capture_mif = <3>;
			front_single_capture_int = <0>;
			front_single_capture_icpu = <0>;

			front_single_vt_cam = <5>;
			front_single_vt_isp = <6>;
			front_single_vt_int_cam = <6>;
			front_single_vt_mif = <10>;
			front_single_vt_int = <1>;
			front_single_vt_icpu = <0>;

			front_single_fastae_cam = <0>;
			front_single_fastae_isp = <0>;
			front_single_fastae_int_cam = <0>;
			front_single_fastae_mif = <0>;
			front_single_fastae_int = <0>;
			front_single_fastae_icpu = <0>;

			front_single_video_uhd120_cam = <4>;
			front_single_video_uhd120_isp = <5>;
			front_single_video_uhd120_int_cam = <6>;
			front_single_video_uhd120_mif = <3>;
			front_single_video_uhd120_int = <1>;
			front_single_video_uhd120_icpu = <0>;

			front_single_video_fhd120_cam = <4>;
			front_single_video_fhd120_isp = <4>;
			front_single_video_fhd120_int_cam = <5>;
			front_single_video_fhd120_mif = <3>;
			front_single_video_fhd120_int = <0>;
			front_single_video_fhd120_icpu = <0>;

			pip_dual_photo_cam = <5>;
			pip_dual_photo_isp = <6>;
			pip_dual_photo_int_cam = <5>;
			pip_dual_photo_mif = <8>;
			pip_dual_photo_int = <0>;
			pip_dual_photo_icpu = <0>;

			pip_dual_capture_cam = <1>;
			pip_dual_capture_isp = <1>;
			pip_dual_capture_int_cam = <1>;
			pip_dual_capture_mif = <3>;
			pip_dual_capture_int = <0>;
			pip_dual_capture_icpu = <0>;

			pip_dual_video_fhd30_cam = <5>;
			pip_dual_video_fhd30_isp = <6>;
			pip_dual_video_fhd30_int_cam = <5>;
			pip_dual_video_fhd30_mif = <8>;
			pip_dual_video_fhd30_int = <0>;
			pip_dual_video_fhd30_icpu = <0>;

			pip_dual_video_uhd30_cam = <5>;
			pip_dual_video_uhd30_isp = <5>;
			pip_dual_video_uhd30_int_cam = <4>;
			pip_dual_video_uhd30_mif = <5>;
			pip_dual_video_uhd30_int = <0>;
			pip_dual_video_uhd30_icpu = <0>;

			sensor_only_rear_single_cam = <1>;
			sensor_only_rear_single_isp = <1>;
			sensor_only_rear_single_int_cam = <1>;
			sensor_only_rear_single_mif = <1>;
			sensor_only_rear_single_int = <1>;
			sensor_only_rear_single_icpu = <0>;

			sensor_only_front_cam = <1>;
			sensor_only_front_isp = <1>;
			sensor_only_front_int_cam = <1>;
			sensor_only_front_mif = <1>;
			sensor_only_front_int = <1>;
			sensor_only_front_icpu = <0>;

			throttling_cam = <0>;
			throttling_isp = <0>;
			throttling_int_cam = <5>; /* 234 */
			throttling_mif = <7>; /* 1539 */
			throttling_int = <0>;
			throttling_icpu = <0>;

			max_csis = <0>;
			max_cam = <0>;
			max_isp = <0>;
			max_int_cam = <0>;
			max_mif = <0>;
			max_int = <0>;
			max_icpu = <0>;
		};
	};

	cphy_setfile: cphy-setfile@00 {
		comm {
			/* bias */
			0  = <0x1000 0 32 0x00000010 IDX_BIA_VAL 0>; /* M_BIAS_CON0 */
			1  = <0x1004 0 32 0x00000110 IDX_BIA_VAL 0>; /* M_BIAS_CON1 */
			2  = <0x1008 0 32 0x00003223 IDX_BIA_VAL 0>; /* M_BIAS_CON2 */
			3  = <0x1010 0 32 0x00000240 IDX_BIA_VAL 0>; /* M_BIAS_CON4 */
		};

		lane {
			0  = <0x0004 0 32 0x00003C00 IDX_FIX_VAL 3>; /* SD_GNR_CON1 */
			1  = <0x0008 0 32 0x000001F3 IDX_FIX_VAL 3>; /* SD_ANA_CON0 */
			2  = <0x000C 0 32 0x0000F649 IDX_FIX_VAL 3>; /* SD_ANA_CON1 */
			3  = <0x0010 0 32 0x00000005 IDX_FIX_VAL 3>; /* SD_ANA_CON2 */
			4  = <0x0014 0 32 0x00008600 IDX_FIX_VAL 3>; /* SD_ANA_CON3 */
			5  = <0x0018 0 32 0x00004040 IDX_FIX_VAL 3>; /* SD_ANA_CON4 */
			6  = <0x001C 0 32 0x00000200 IDX_FIX_VAL 3>; /* SD_ANA_CON5 */
			7  = <0x0020 0 32 0x00000E08 IDX_FIX_VAL 3>; /* SD_ANA_CON6 */
			8  = <0x0024 0 32 0x00000040 IDX_FIX_VAL 3>; /* SD_ANA_CON7 */
			9  = <0x0030 0  8 0x00000000 IDX_FIX_VAL 3>; /* SD_TIME_CON0 */
			10 = <0x0030 8  1 0x00000000 IDX_STL_CLK 3>; /* SD_TIME_CON0 */
			11 = <0x0034 0 32 0x00000034 IDX_FIX_VAL 3>; /* SD_TIME_CON1 */
			12 = <0x005C 0 32 0x00001000 IDX_FIX_VAL 3>; /* SD_CRC_DLY_CON0 */
			13 = <0x0064 0 32 0x00001501 IDX_FIX_VAL 3>; /* SD_CRC_CON1 */
			14 = <0x0068 0 32 0x00000003 IDX_FIX_VAL 3>; /* SD_CRC_CON2 */
			15 = <0x009c 0 32 0x00000080 IDX_FIX_VAL 3>; /* SD_CRC_DLY_CON3 */

			/* Enable should be set at last */
			16 = <0x0000 0 32 0x00000001 IDX_FIX_VAL 3>; /* SD_GNR_CON0 */
		};
	};

	cphy_3lu_setfile: cphy-3lu-setfile@00 {
		comm {
			/* bias */
			0  = <0x1000 0 32 0x00000010 IDX_BIA_VAL 0>; /* M_BIAS_CON0 */
			1  = <0x1004 0 32 0x00000110 IDX_BIA_VAL 0>; /* M_BIAS_CON1 */
			2  = <0x1008 0 32 0x00003223 IDX_BIA_VAL 0>; /* M_BIAS_CON2 */
			3  = <0x1010 0 32 0x00000240 IDX_BIA_VAL 0>; /* M_BIAS_CON4 */
		};

		lane {
			0  = <0x0004 0 32 0x00003C00 IDX_FIX_VAL 3>; /* SD_GNR_CON1 */
			1  = <0x0008 0 32 0x00000001 IDX_FIX_VAL 3>; /* SD_ANA_CON0 */
			2  = <0x000C 0 32 0x0000FA4A IDX_FIX_VAL 3>; /* SD_ANA_CON1 */
			3  = <0x0010 0 32 0x00000007 IDX_FIX_VAL 3>; /* SD_ANA_CON2 */
			4  = <0x0014 0 32 0x00008600 IDX_FIX_VAL 3>; /* SD_ANA_CON3 */
			5  = <0x0018 0 32 0x00004040 IDX_FIX_VAL 3>; /* SD_ANA_CON4 */
			6  = <0x001C 0 32 0x00000200 IDX_FIX_VAL 3>; /* SD_ANA_CON5 */
			7  = <0x0020 0 32 0x00000E08 IDX_FIX_VAL 3>; /* SD_ANA_CON6 */
			8  = <0x0024 0 32 0x00000040 IDX_FIX_VAL 3>; /* SD_ANA_CON7 */
			9  = <0x0030 0  8 0x00000000 IDX_FIX_VAL 3>; /* SD_TIME_CON0 */
			10 = <0x0030 8  1 0x00000000 IDX_STL_CLK 3>; /* SD_TIME_CON0 */
			11 = <0x0034 0 32 0x00000034 IDX_FIX_VAL 3>; /* SD_TIME_CON1 */
			12 = <0x005C 0 32 0x00001000 IDX_FIX_VAL 3>; /* SD_CRC_DLY_CON0 */
			13 = <0x0064 0 32 0x00001501 IDX_FIX_VAL 3>; /* SD_CRC_CON1 */
			14 = <0x0068 0 32 0x00000003 IDX_FIX_VAL 3>; /* SD_CRC_CON2 */
			15 = <0x009c 0 32 0x00000080 IDX_FIX_VAL 3>; /* SD_CRC_DLY_CON3 */

			/* Enable should be set at last */
			16 = <0x0000 0 32 0x00000001 IDX_FIX_VAL 3>; /* SD_GNR_CON0 */
		};
	};

	cphy_gn3_setfile: cphy-gn3-setfile@00 {
		comm {
			/* bias */
			0  = <0x1000 0 32 0x00000010 IDX_BIA_VAL 0>; /* M_BIAS_CON0 */
			1  = <0x1004 0 32 0x00000110 IDX_BIA_VAL 0>; /* M_BIAS_CON1 */
			2  = <0x1008 0 32 0x00003223 IDX_BIA_VAL 0>; /* M_BIAS_CON2 */
			3  = <0x1010 0 32 0x00000240 IDX_BIA_VAL 0>; /* M_BIAS_CON4 */
		};

		lane {
			0  = <0x0004 0 32 0x00003C00 IDX_FIX_VAL 3>; /* SD_GNR_CON1 */
			1  = <0x0008 0 32 0x00000073 IDX_FIX_VAL 3>; /* SD_ANA_CON0 */
			2  = <0x000C 0 32 0x0000F74A IDX_FIX_VAL 3>; /* SD_ANA_CON1 */
			3  = <0x0010 0 32 0x00000005 IDX_FIX_VAL 3>; /* SD_ANA_CON2 */
			4  = <0x0014 0 32 0x00008600 IDX_FIX_VAL 3>; /* SD_ANA_CON3 */
			5  = <0x0018 0 32 0x00004040 IDX_FIX_VAL 3>; /* SD_ANA_CON4 */
			6  = <0x001C 0 32 0x00000200 IDX_FIX_VAL 3>; /* SD_ANA_CON5 */
			7  = <0x0020 0 32 0x00000E08 IDX_FIX_VAL 3>; /* SD_ANA_CON6 */
			8  = <0x0024 0 32 0x00000040 IDX_FIX_VAL 3>; /* SD_ANA_CON7 */
			9  = <0x0030 0  8 0x00000000 IDX_FIX_VAL 3>; /* SD_TIME_CON0 */
			10 = <0x0030 8  1 0x00000000 IDX_STL_CLK 3>; /* SD_TIME_CON0 */
			11 = <0x0034 0 32 0x00000034 IDX_FIX_VAL 3>; /* SD_TIME_CON1 */
			12 = <0x005C 0 32 0x00001000 IDX_FIX_VAL 3>; /* SD_CRC_DLY_CON0 */
			13 = <0x0064 0 32 0x00001501 IDX_FIX_VAL 3>; /* SD_CRC_CON1 */
			14 = <0x0068 0 32 0x00000003 IDX_FIX_VAL 3>; /* SD_CRC_CON2 */
			15 = <0x009c 0 32 0x00000080 IDX_FIX_VAL 3>; /* SD_CRC_DLY_CON3 */

			/* Enable should be set at last */
			16 = <0x0000 0 32 0x00000001 IDX_FIX_VAL 3>; /* SD_GNR_CON0 */
		};
	};
};
